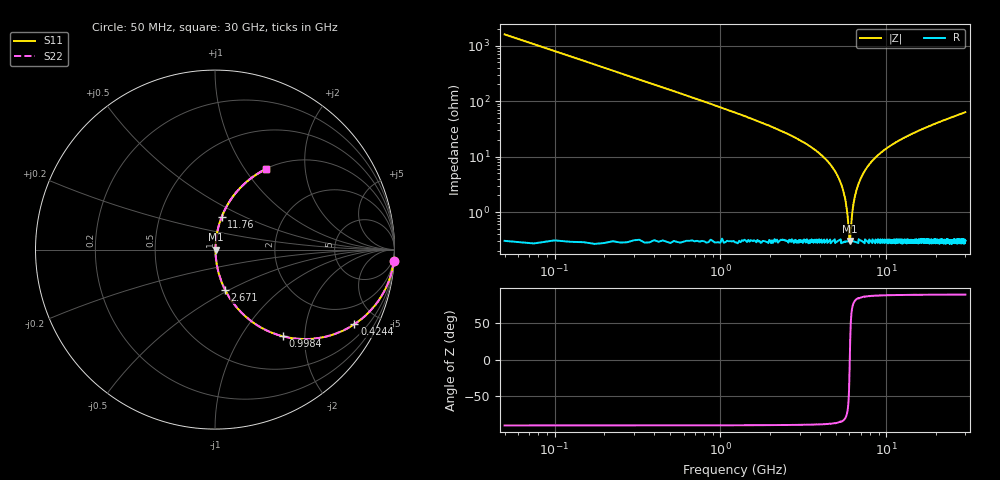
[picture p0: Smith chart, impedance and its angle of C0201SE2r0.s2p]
!	AVX Thin Film Operation 	Date: April 2014
!	Description: Accu-P® Series, Thin Film  SMD RF Capacitor
!	Part Number: 02013J2R0PBSTR
# MHZ S MA R 50
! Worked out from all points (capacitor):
!   1201 points, 50 MHz to 30 GHz, reference 50 ohm
!   read as one part in series: C = 2 pF near 199.8 MHz
!   lowest |Z| = 304 mohm at 6.015 GHz (marker M1)
!   series resonance near 6.026 GHz, so ESL is about 350 pH
!   S11 on the Smith chart (normalised r, x): 50 MHz: 1, -32; 424.4 MHz: 1.00, -3.73; 998.4 MHz: 1.01, -1.55; 2.671 GHz: 1.01, -0.48; 11.76 GHz: 1.01, +0.38; 30 GHz: 1.01, +1.26
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50  0.998 -3.6  0.063 86.4  0.063 86.4  0.998 -3.6
249.667  0.954 -17.4  0.3 72.5  0.3 72.5  0.954 -17.4
424.375  0.881 -28.2  0.472 61.7  0.472 61.7  0.881 -28.2
998.417  0.612 -52.1  0.789 37.7  0.789 37.7  0.612 -52.1
1672.292  0.401 -66.0  0.913 23.6  0.913 23.6  0.401 -66.0
2670.625  0.232 -75.9  0.97 13.4  0.97 13.4  0.232 -75.9
4193.083  0.097 -82.7  0.992 5.6  0.992 5.6  0.097 -82.7
5041.667  0.047 -83.7  0.996 2.7  0.996 2.7  0.047 -83.7
5590.75  0.02 -80.3  0.997 1.1  0.997 1.1  0.02 -80.3
5915.208  0.005726 -58.2  0.997 0.3  0.997 0.3  0.005726 -58.2
6015.042  0.003029 -9.0  0.997 0.0  0.997 0.0  0.003029 -9.0
6114.875  0.004883 52.0  0.997 -0.2  0.997 -0.2  0.004883 52.0
6314.542  0.013 75.7  0.997 -0.7  0.997 -0.7  0.013 75.7
6514.208  0.021 80.5  0.997 -1.2  0.997 -1.2  0.021 80.5
7138.167  0.045 83.6  0.996 -2.6  0.996 -2.6  0.045 83.6
8336.167  0.087 83.1  0.993 -5.0  0.993 -5.0  0.087 83.1
10058.29  0.14 80.8  0.987 -8.0  0.987 -8.0  0.14 80.8
11755.46  0.186 78.4  0.98 -10.7  0.98 -10.7  0.186 78.4
15025  0.266 74.0  0.961 -15.4  0.961 -15.4  0.266 74.0
20016.67  0.37 67.9  0.926 -21.7  0.926 -21.7  0.37 67.9
25033.29  0.458 62.4  0.886 -27.3  0.886 -27.3  0.458 62.4
30000  0.532 57.6  0.844 -32.2  0.844 -32.2  0.532 57.6
